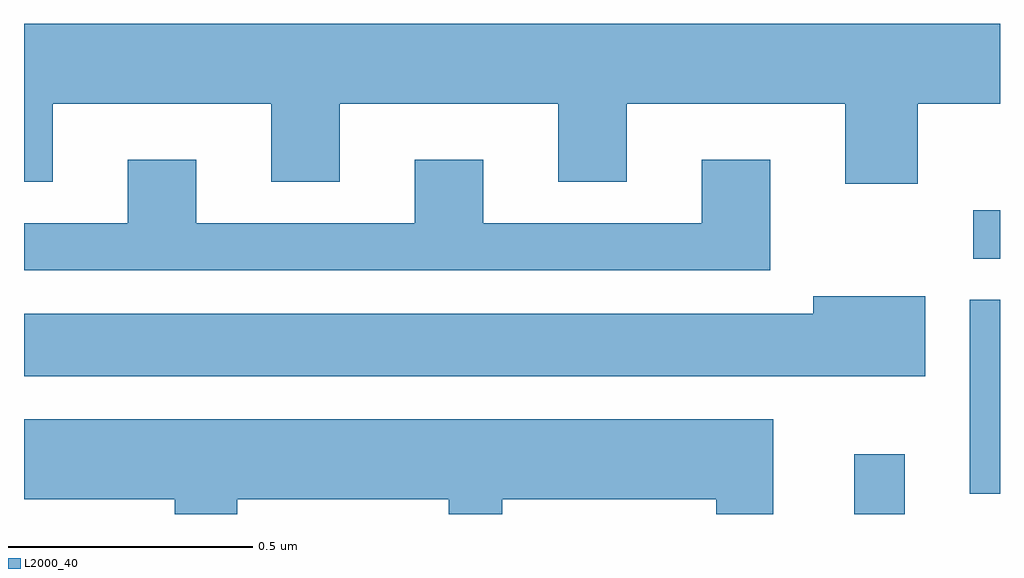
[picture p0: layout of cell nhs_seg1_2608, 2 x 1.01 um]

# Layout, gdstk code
import gdstk
lib = gdstk.Library(unit=1e-6, precision=1e-09)
def R(c, l, rs):  # rectangles x0, y0, x1, y1
    for r in rs: c.add(gdstk.rectangle(r[:2], r[2:], *l))
def P(c, l, *ps):  # polygons
    for p in ps: c.add(gdstk.Polygon(p, *l))
L2000_40 = (2000, 40)

nhs_seg1_2608 = lib.new_cell('nhs_seg1_2608')
R(nhs_seg1_2608, L2000_40, [(144.701,576.199,144.805,576.322), (144.938,576.241,145,576.638), (144.945,576.723,145,576.822)])
P(nhs_seg1_2608, L2000_40, [(144.831,577.04),(145,577.04),(145,577.204),(143,577.204),(143,576.88),(143.059,576.88),(143.059,577.04),(143.507,577.04),(143.507,576.88),(143.647,576.88),(143.647,577.04),(144.095,577.04),(144.095,576.88),(144.235,576.88),(144.235,577.04),(144.683,577.04),(144.683,576.876),(144.831,576.876)],
  [(144.529,576.925),(144.389,576.925),(144.389,576.795),(143.941,576.795),(143.941,576.925),(143.801,576.925),(143.801,576.795),(143.353,576.795),(143.353,576.925),(143.213,576.925),(143.213,576.795),(143,576.795),(143,576.699),(144.529,576.699)],
  [(144.847,576.646),(144.617,576.646),(144.617,576.61),(143,576.61),(143,576.482),(144.847,576.482)],
  [(143.437,576.23),(143.87,576.23),(143.87,576.199),(143.98,576.199),(143.98,576.23),(144.419,576.23),(144.419,576.199),(144.535,576.199),(144.535,576.394),(143,576.394),(143,576.23),(143.309,576.23),(143.309,576.199),(143.437,576.199)])

lib.write_gds('nhs_seg1_2608.gds')
